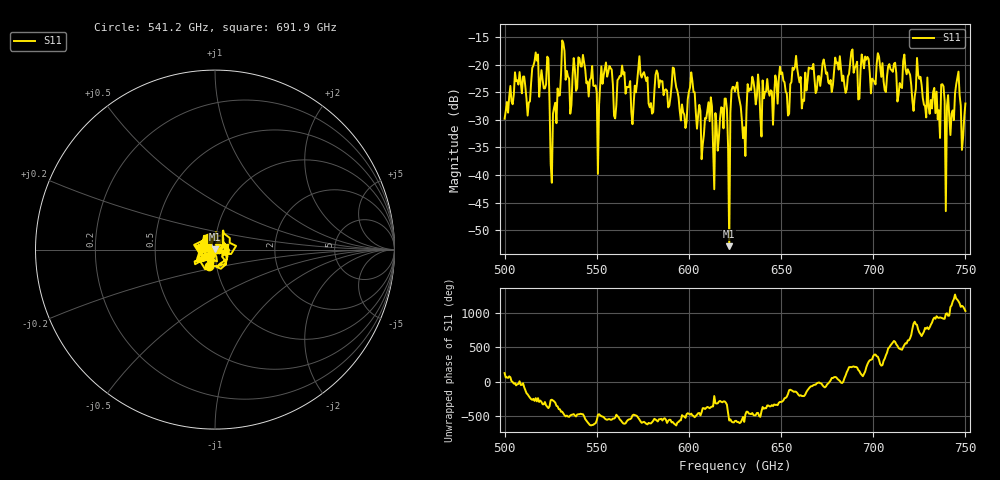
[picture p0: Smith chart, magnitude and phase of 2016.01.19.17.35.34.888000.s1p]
!Created with skrf (http://scikit-rf.org).
# GHz S RI R 50.0
!freq ReS11 ImS11
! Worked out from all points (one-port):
!   401 points, 500 GHz to 750 GHz, reference 50 ohm
!   lowest |S11| = -52.9 dB at 621.9 GHz (marker M1), VSWR 1.00, Z = 49.8 + j0.107 ohm
!   |S11| at or under -10 dB: start of sweep to end of sweep
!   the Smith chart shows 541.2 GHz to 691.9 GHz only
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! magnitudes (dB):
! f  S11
! 500 GHz  -29.8
! 506.9 GHz  -22.8
! 513.1 GHz  -26.9
! 516.9 GHz  -17.8
! 523.1 GHz  -18.5
! 526.2 GHz  -28.9
! 531.2 GHz  -15.6
! 550 GHz  -25.1
! 553.8 GHz  -21.9
! 560 GHz  -29.7
! 562.5 GHz  -22.1
! 593.8 GHz  -24.8
! 597.5 GHz  -29.1
! 601.9 GHz  -23.0
! 608.1 GHz  -32.7
! 611.2 GHz  -30.2
! 614.4 GHz  -28.8
! 619.4 GHz  -26.2
! 621.9 GHz  -52.9
! 625 GHz  -24.9
! 630 GHz  -31.3
! 633.1 GHz  -24.3
! 656.2 GHz  -20.5
! 687.5 GHz  -19.7
! 718.8 GHz  -20.8
! 740.6 GHz  -25.5
! 745.6 GHz  -22.4
! 750 GHz  -27.0
